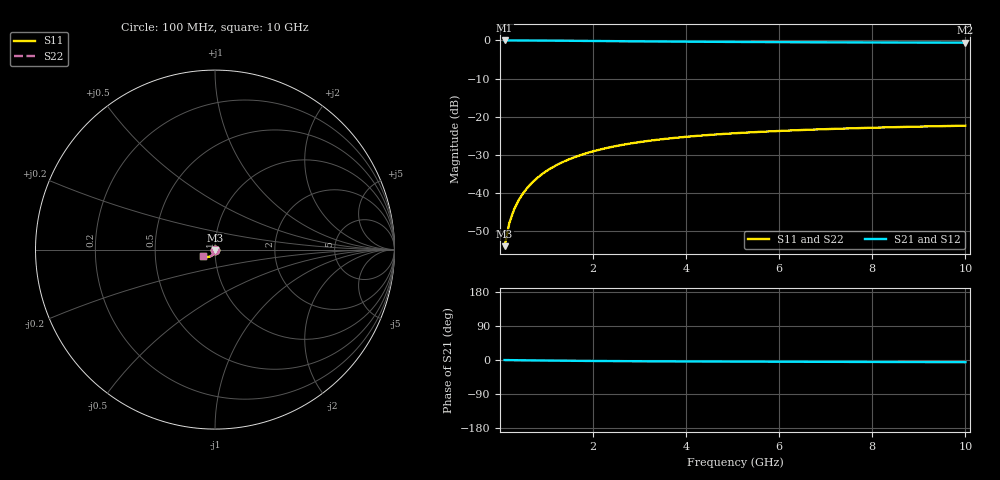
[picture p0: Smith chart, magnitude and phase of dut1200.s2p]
! Touchstone file exported from HFSS 2024.1.0
!  File:  C:/UserFiles/LocalFiles/RDL_TSV_Batchsim/temp_TSV1_1200_1780247484.aedt
!  Generated:  01:15:47 AM Jun  1, 2026
!  Design:  TSV1
!  Project:  temp_TSV1_1200_1780247484
!  Setup:  Setup1
!  Solution:  Sweep
! Variables:
!  dtsv = 14.37um
!  hbump = 3um
!  htsv = 85.25um
!  lrdl = 252.1521522um
!  p = 40
!  p1 = 42.7um
!  t = 500um
!  trdl = 3um
!  wrdl = 24.89489489um
# GHz S MA R 50.000000
! Terminal data exported
! Port[1] = TSV22_T1
! Port[2] = TSV22_T2
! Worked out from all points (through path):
!   100 points, 100 MHz to 10 GHz, reference 50 ohm
!   highest |S21| = 0.00 dB at 100 MHz (marker M1); lowest = -0.6 dB at 10 GHz (marker M2)
!   lowest |S11| = -53.9 dB at 100 MHz (marker M3), VSWR 1.00, Z = 50 - j0.201 ohm
!   |S11| at or under -10 dB: start of sweep to end of sweep
!   |S22| runs from -53.9 to -22.3 dB; largest |S21 - S12| = 2.8e-15
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0.1  0.002014 -88.9  0.9999 -0.2  0.9999 -0.2  0.002014 -88.9
! Gamma 0 0 0 0
! Port Impedance 50 0 50 0
0.2  0.004022 -91.8  0.9997 -0.3  0.9997 -0.3  0.004022 -91.8
0.3  0.006025 -93.8  0.9994 -0.5  0.9994 -0.5  0.006025 -93.8
0.4  0.008017 -95.5  0.999 -0.6  0.999 -0.6  0.008017 -95.5
0.5  0.009992 -97.1  0.9986 -0.8  0.9986 -0.8  0.009992 -97.1
0.6  0.01195 -98.7  0.998 -0.9  0.998 -0.9  0.01195 -98.7
0.7  0.01387 -100.2  0.9973 -1.0  0.9973 -1.0  0.01387 -100.2
0.8  0.01577 -101.6  0.9966 -1.2  0.9966 -1.2  0.01577 -101.6
0.9  0.01763 -103.0  0.9958 -1.3  0.9958 -1.3  0.01763 -103.0
1.1  0.02123 -105.8  0.994 -1.6  0.994 -1.6  0.02123 -105.8
1.4  0.02631 -109.7  0.9909 -1.9  0.9909 -1.9  0.02631 -109.7
1.6  0.02947 -112.1  0.9888 -2.1  0.9888 -2.1  0.02947 -112.1
1.8  0.03243 -114.5  0.9865 -2.3  0.9865 -2.3  0.03243 -114.5
2.1  0.03653 -117.7  0.9831 -2.6  0.9831 -2.6  0.03653 -117.7
2.5  0.04138 -121.6  0.9786 -2.9  0.9786 -2.9  0.04138 -121.6
2.9  0.04559 -125.0  0.9743 -3.2  0.9743 -3.2  0.04559 -125.0
3.4  0.0501 -128.6  0.9693 -3.5  0.9693 -3.5  0.0501 -128.6
4.2  0.05595 -133.4  0.9623 -3.8  0.9623 -3.8  0.05595 -133.4
5.1  0.06107 -137.7  0.9557 -4.2  0.9557 -4.2  0.06107 -137.7
6.7  0.06779 -143.1  0.9467 -4.7  0.9467 -4.7  0.06779 -143.1
8.4  0.07285 -147.2  0.9398 -5.3  0.9398 -5.3  0.07285 -147.2
10  0.07637 -150.1  0.9351 -5.8  0.9351 -5.8  0.07637 -150.1
